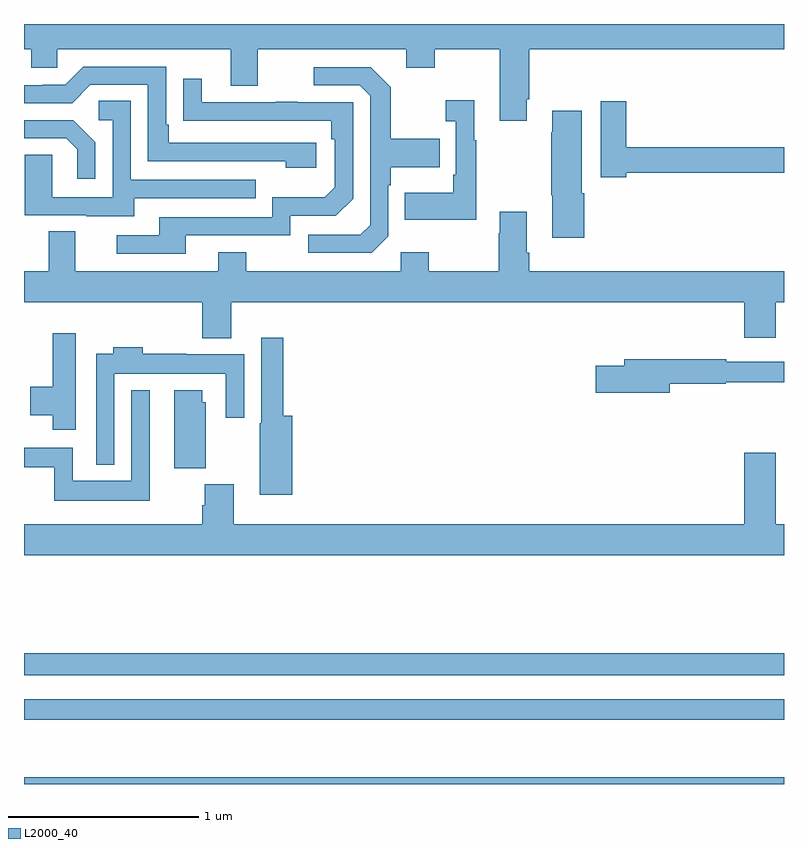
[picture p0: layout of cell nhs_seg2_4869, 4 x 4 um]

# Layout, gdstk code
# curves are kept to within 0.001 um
import gdstk
lib = gdstk.Library(unit=1e-6, precision=1e-09)
def R(c, l, rs):  # rectangles x0, y0, x1, y1
    for r in rs: c.add(gdstk.rectangle(r[:2], r[2:], *l))
def P(c, l, *ps):  # polygons
    for p in ps: c.add(gdstk.Polygon(p, *l))
L2000_40 = (2000, 40)

nhs_seg2_4869 = lib.new_cell('nhs_seg2_4869')
R(nhs_seg2_4869, L2000_40, [(377,611.8,381,611.836), (377,612.138,381,612.246), (377,612.372,381,612.488)])
P(nhs_seg2_4869, L2000_40, [(379.645,615.403),(379.658,615.403),(379.658,615.668),(381,615.668),(381,615.8),(377,615.8),(377,615.668),(377.037,615.668),(377.037,615.57),(377.175,615.57),(377.175,615.668),(378.089,615.668),(378.089,615.474),(378.229,615.474),(378.229,615.668),(379.013,615.668),(379.013,615.569),(379.161,615.569),(379.161,615.668),(379.505,615.668),(379.505,615.291),(379.645,615.291)],
  [(378.538,615.174),(377.761,615.174),(377.761,615.271),(377.748,615.271),(377.748,615.576),(377.313,615.576),(377.217,615.48),(377.099,615.48),(377.099,615.477),(377,615.477),(377,615.384),(377.253,615.384),(377.349,615.48),(377.652,615.48),(377.652,615.078),(378.377,615.078),(378.377,615.044),(378.538,615.044)],
  [(378.918,614.682),(378.918,614.951),(378.931,614.951),(378.931,615.047),(379.187,615.047),(379.187,615.195),(378.931,615.195),(378.931,615.467),(378.825,615.573),(378.525,615.573),(378.525,615.477),(378.768,615.477),(378.822,615.423),(378.822,614.742),(378.771,614.691),(378.495,614.691),(378.495,614.595),(378.831,614.595)],
  [(377.851,614.688),(378.402,614.688),(378.402,614.79),(378.642,614.79),(378.732,614.88),(378.732,615.387),(378.437,615.387),(378.437,615.392),(378.325,615.392),(378.325,615.387),(377.935,615.387),(377.935,615.511),(377.839,615.511),(377.839,615.292),(378.616,615.291),(378.616,615.194),(378.636,615.194),(378.636,614.94),(378.583,614.887),(378.306,614.887),(378.306,614.784),(377.711,614.784),(377.711,614.688),(377.487,614.688),(377.487,614.592),(377.851,614.592)],
  [(379.381,615.187),(379.369,615.187),(379.369,615.4),(379.221,615.4),(379.221,615.287),(379.272,615.287),(379.272,615.007),(379.26,615.007),(379.26,614.911),(379.003,614.911),(379.003,614.771),(379.381,614.771)],
  [(377.581,614.883),(378.221,614.883),(378.221,614.979),(377.562,614.979),(377.562,615.395),(377.394,615.395),(377.394,615.294),(377.466,615.294),(377.466,614.889),(377.148,614.889),(377.148,615.113),(377.003,615.113),(377.003,614.793),(377.327,614.793),(377.327,614.789),(377.581,614.789)],
  [(380.171,615.016),(381,615.016),(381,615.152),(380.171,615.152),(380.171,615.394),(380.036,615.394),(380.036,614.993),(380.171,614.993)],
  [(379.949,614.909),(379.936,614.909),(379.936,615.343),(379.781,615.343),(379.781,615.23),(379.774,615.23),(379.774,614.899),(379.781,614.899),(379.781,614.676),(379.949,614.676)],
  [(377.376,615.178),(377.26,615.294),(377,615.294),(377,615.198),(377.222,615.198),(377.279,615.141),(377.279,614.985),(377.376,614.985)],
  [(378.091,614.336),(380.792,614.336),(380.792,614.148),(380.956,614.148),(380.956,614.336),(381,614.336),(381,614.5),(379.658,614.5),(379.658,614.596),(379.645,614.596),(379.645,614.812),(379.505,614.812),(379.505,614.699),(379.498,614.699),(379.498,614.5),(379.131,614.5),(379.131,614.599),(378.984,614.599),(378.984,614.5),(378.171,614.5),(378.171,614.599),(378.023,614.599),(378.023,614.5),(377.269,614.5),(377.269,614.708),(377.129,614.708),(377.129,614.5),(377,614.5),(377,614.336),(377.939,614.336),(377.939,614.147),(378.091,614.147)],
  [(377.272,614.173),(377.15,614.173),(377.15,613.89),(377.033,613.89),(377.033,613.742),(377.15,613.742),(377.15,613.665),(377.272,613.665)],
  [(378.413,613.738),(378.365,613.738),(378.365,614.149),(378.249,614.149),(378.249,613.698),(378.242,613.698),(378.242,613.322),(378.413,613.322)],
  [(377.475,613.958),(378.063,613.958),(378.063,613.728),(378.159,613.728),(378.159,614.062),(377.855,614.062),(377.855,614.065),(377.624,614.065),(377.624,614.098),(377.471,614.098),(377.471,614.065),(377.379,614.065),(377.379,613.481),(377.475,613.481)],
  [(380.398,613.906),(380.694,613.906),(380.694,613.914),(381,613.914),(381,614.022),(380.696,614.022),(380.696,614.035),(380.159,614.035),(380.159,614.001),(380.01,614.001),(380.01,613.859),(380.398,613.859)],
  [(377.662,613.873),(377.565,613.873),(377.565,613.396),(377.256,613.396),(377.256,613.57),(377,613.57),(377,613.466),(377.159,613.466),(377.159,613.292),(377.662,613.292)],
  [(377.956,613.809),(377.938,613.809),(377.938,613.873),(377.792,613.873),(377.792,613.462),(377.956,613.462)],
  [(381,613.168),(380.956,613.168),(380.956,613.543),(380.792,613.543),(380.792,613.168),(378.104,613.168),(378.104,613.377),(377.951,613.377),(377.951,613.268),(377.939,613.268),(377.939,613.168),(377,613.168),(377,613.004),(381,613.004)])

lib.write_gds('nhs_seg2_4869.gds')
